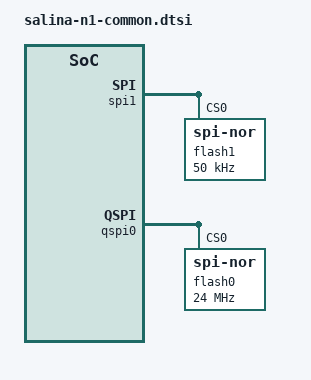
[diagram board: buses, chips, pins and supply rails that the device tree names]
// SPDX-License-Identifier: (GPL-2.0-only or BSD-2-Clause)
/*
 * Copyright 2023-2024 Advanced Micro Devices, Inc.
 */

&ahb_clk {
	clock-frequency = <400000000>;
};

&emmc_clk {
	clock-frequency = <200000000>;
};

&flash_clk {
	clock-frequency = <400000000>;
};

&ref_clk {
	clock-frequency = <100000000>;
};

&gpio0 {
	status = "ok";
};

&gpio1 {
	status = "ok";
};

&spi1 {
	status = "okay";

	flash1: cysnor@0 {
		compatible = "jedec,spi-nor";
		reg = <0>;
		spi-max-frequency = <50000>;
		spi-rx-bus-width = <1>;
		m25p,fast-read;
		cdns,read-delay = <0>;
		cdns,tshsl-ns = <0>;
		cdns,tsd2d-ns = <0>;
		cdns,tchsh-ns = <0>;
		cdns,tslch-ns = <0>;
		};
};

&qspi0 {
	status = "okay";

	flash0: flash@0 {
		compatible = "jedec,spi-nor";
		reg = <0>;
		spi-max-frequency = <24000000>;
		spi-rx-bus-width = <2>;
		m25p,fast-read;
		cdns,read-delay = <0>;
		cdns,tshsl-ns = <0>;
		cdns,tsd2d-ns = <0>;
		cdns,tchsh-ns = <0>;
		cdns,tslch-ns = <0>;
	};
};
